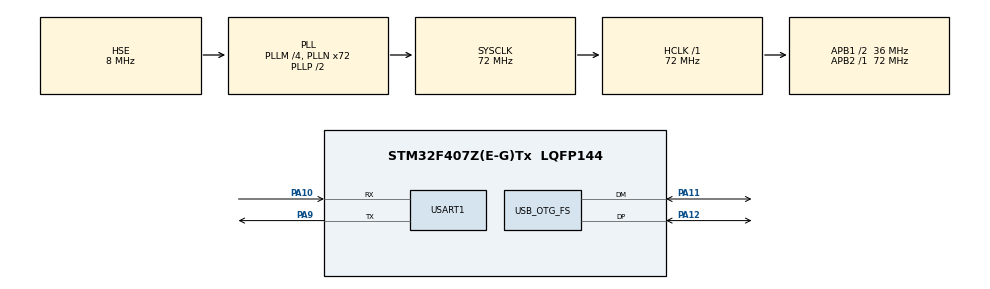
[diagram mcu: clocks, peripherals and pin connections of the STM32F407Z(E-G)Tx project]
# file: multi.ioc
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Mcu.Family=STM32F4
Mcu.Name=STM32F407Z(E-G)Tx
Mcu.Package=LQFP144
NVIC.OTG_FS_IRQn=true\:0\:0\:false\:false\:true\:false\:true\:true
NVIC.PriorityGroup=NVIC_PRIORITYGROUP_4
PA10.Mode=Asynchronous
PA10.Signal=USART1_RX
PA11.Mode=Device_Only
PA11.Signal=USB_OTG_FS_DM
PA12.Mode=Device_Only
PA12.Signal=USB_OTG_FS_DP
PA13.Mode=Serial_Wire
PA13.Signal=SYS_JTMS-SWDIO
PA14.Mode=Serial_Wire
PA14.Signal=SYS_JTCK-SWCLK
PA9.Mode=Asynchronous
PA9.Signal=USART1_TX
PH0-OSC_IN.Mode=HSE-External-Oscillator
PH0-OSC_IN.Signal=RCC_OSC_IN
PH1-OSC_OUT.Mode=HSE-External-Oscillator
PH1-OSC_OUT.Signal=RCC_OSC_OUT
ProjectManager.HeapSize=0x2000
ProjectManager.StackSize=0x2000
ProjectManager.TargetToolchain=STM32CubeIDE
RCC.48MHZClocksFreq_Value=48000000
RCC.AHBFreq_Value=72000000
RCC.APB1CLKDivider=RCC_HCLK_DIV2
RCC.APB1Freq_Value=36000000
RCC.APB1TimFreq_Value=72000000
RCC.APB2Freq_Value=72000000
RCC.APB2TimFreq_Value=72000000
RCC.CortexFreq_Value=72000000
RCC.HCLKFreq_Value=72000000
RCC.HSE_VALUE=8000000
RCC.HSI_VALUE=16000000
RCC.LSE_VALUE=32768
RCC.PLLM=4
RCC.PLLN=72
RCC.PLLQ=3
RCC.SYSCLKFreq_VALUE=72000000
RCC.SYSCLKSource=RCC_SYSCLKSOURCE_PLLCLK
RCC.VCOOutputFreq_Value=144000000
USART1.VirtualMode=VM_ASYNC
USB_DEVICE.CLASS_NAME_FS=CUSTOM_HID
USB_DEVICE.VirtualMode-CUSTOM_HID_FS=CustomHid
USB_DEVICE.VirtualModeFS=Custom_Hid_FS
USB_OTG_FS.VirtualMode=Device_Only
VP_USB_DEVICE_VS_USB_DEVICE_CUSTOM_HID_FS.Mode=CUSTOM_HID_FS
board=custom

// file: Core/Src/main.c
/* USER CODE BEGIN Header */
/**
  ******************************************************************************
  * @file           : main.c
  * @brief          : Main program body
  ******************************************************************************
  * @attention
  *
  * Copyright (c) 2023 STMicroelectronics.
  * All rights reserved.
  *
  * This software is licensed under terms that can be found in the LICENSE file
  * in the root directory of this software component.
  * If no LICENSE file comes with this software, it is provided AS-IS.
  *
  ******************************************************************************
  */
/* USER CODE END Header */
#include "main.h"
#include "usart.h"
#include "usb_device.h"
#include "gpio.h"

/* USER CODE BEGIN Includes */
#include "retarget.h"
#include "matrix_key_user.h"
//#include "sdio_user.h"
// #include "fatfs_user.h"
#include "encoder_user.h"
#include "oled_user.h"
#include "flash_user.h"
#include "lcd_user.h"
//#include "FreeRTOSConfig.h"
#include "FreeRTOS.h"
#include "task.h"
/* USER CODE END Includes */

void SystemClock_Config(void);
void led1_task(void* arg);
void led2_task(void* arg);

// 创建任务句柄
// 统一任务管理
static TaskHandle_t app_task_handle = NULL;
// 其他任务
static TaskHandle_t led1_task_handle = NULL;
static TaskHandle_t led2_task_handle = NULL;

static void app_task_create(void) {
    BaseType_t x_return = pdPASS;
    x_return = xTaskCreate((TaskFunction_t )led1_task, /* 任务入口函数 */
                           (const char* )"LED1_Task",/* 任务名字 */
                           (uint16_t )512, /* 任务栈大小 */
                           (void* )NULL, /* 任务入口函数参数 */
                           (UBaseType_t )2, /* 任务的优先级 */
                           (TaskHandle_t* )&led1_task_handle);
    if(pdPASS == x_return) {
        printf("led task ok\r\n");
    }
    vTaskDelete(app_task_handle);
    taskEXIT_CRITICAL(); //退出临界区
}

/* USER CODE BEGIN PFP */
void led_init(void) {
    __HAL_RCC_GPIOF_CLK_ENABLE();

    GPIO_InitTypeDef GPIO_InitStruct = {0};

    GPIO_InitStruct.Pin = GPIO_PIN_9 | GPIO_PIN_10;
    GPIO_InitStruct.Mode = GPIO_MODE_OUTPUT_PP;
    GPIO_InitStruct.Speed = GPIO_SPEED_FREQ_HIGH;
    GPIO_InitStruct.Pull = GPIO_NOPULL;
    HAL_GPIO_Init(GPIOF, &GPIO_InitStruct);
}
/* USER CODE END PFP */

/* USER CODE BEGIN 0 */
void led1_task(void* arg)
{
    while(1)
    {
        HAL_GPIO_WritePin(GPIOF, GPIO_PIN_9, GPIO_PIN_SET);
        HAL_Delay(300);
        HAL_GPIO_WritePin(GPIOF, GPIO_PIN_9, GPIO_PIN_RESET);
        HAL_Delay(300);
    }
}

void led2_task(void* arg)
{
    while(1)
    {
        HAL_GPIO_TogglePin(GPIOF, GPIO_PIN_10);
//        vTaskDelay(300);
    }
}

/* USER CODE END 0 */

int main(void) {
    /* USER CODE BEGIN 1 */
    RetargetInit(&huart1);
    /* USER CODE END 1 */

    /* MCU Configuration--------------------------------------------------------*/

    /* Reset of all peripherals, Initializes the Flash interface and the Systick. */
    HAL_Init();

    /* Configure the system clock */
    SystemClock_Config();

    /* Initialize all configured peripherals */
    MX_GPIO_Init();
    MX_USB_DEVICE_Init();
    MX_USART1_UART_Init();

    /* USER CODE BEGIN 2 */

//    key_init_user();
//    lcd_init_user();
//    oled_init_user();
//    oled_show_user();
//    flash_init_user();
//    fatfs_init_user();
//    encoder_init_user();
//    sdio_init_user();

    led_init();
    BaseType_t xReturn = pdPASS;
    xReturn = xTaskCreate((TaskFunction_t ) app_task_create, /* 任务入口函数 */
                          (const char* )"create_test",/* 任务名字 */
                          (uint16_t )512, /* 任务栈大小 */
                          (void* )NULL,/* 任务入口函数参数 */
                          (UBaseType_t )1, /* 任务的优先级 */
                          (TaskHandle_t* )&app_task_handle);/* 任务控制块指针 */
    if(pdPASS == xReturn) {
        vTaskStartScheduler();
    } else {
        printf("test fail\r\n");
        return -1;
    }
    /* USER CODE END 2 */

    /* Infinite loop */
    /* USER CODE BEGIN WHILE */
    while (1) {
//        HAL_Delay(200);
//        HAL_GPIO_WritePin(GPIOF, GPIO_PIN_10, GPIO_PIN_SET);
//        HAL_Delay(200);
//        HAL_GPIO_WritePin(GPIOF, GPIO_PIN_10, GPIO_PIN_RESET);
//        HAL_Delay(200);
//        vTaskDelay(300);

//        printf("234234234");
//        key_scan_user();
//        encoder_scan_user();
        /* USER CODE END WHILE */
//        printf("the_encode_is -> %d\r\n", get_encoder_counter());
//        HAL_Delay(200);
        /* USER CODE BEGIN 3 */
    }
}

void SystemClock_Config(void) {
    RCC_OscInitTypeDef RCC_OscInitStruct = {0};
    RCC_ClkInitTypeDef RCC_ClkInitStruct = {0};

    /** Configure the main internal regulator output voltage
    */
    __HAL_RCC_PWR_CLK_ENABLE();
    __HAL_PWR_VOLTAGESCALING_CONFIG(PWR_REGULATOR_VOLTAGE_SCALE1);

    /** Initializes the RCC Oscillators according to the specified parameters
    * in the RCC_OscInitTypeDef structure.
    */
    RCC_OscInitStruct.OscillatorType = RCC_OSCILLATORTYPE_HSE;
    RCC_OscInitStruct.HSEState = RCC_HSE_ON;
    RCC_OscInitStruct.PLL.PLLState = RCC_PLL_ON;
    RCC_OscInitStruct.PLL.PLLSource = RCC_PLLSOURCE_HSE;
    RCC_OscInitStruct.PLL.PLLM = 4;
    RCC_OscInitStruct.PLL.PLLN = 72;
    RCC_OscInitStruct.PLL.PLLP = RCC_PLLP_DIV2;
    RCC_OscInitStruct.PLL.PLLQ = 3;
    if (HAL_RCC_OscConfig(&RCC_OscInitStruct) != HAL_OK) {
        Error_Handler();
    }

    /** Initializes the CPU, AHB and APB buses clocks
    */
    RCC_ClkInitStruct.ClockType = RCC_CLOCKTYPE_HCLK | RCC_CLOCKTYPE_SYSCLK
                                  | RCC_CLOCKTYPE_PCLK1 | RCC_CLOCKTYPE_PCLK2;
    RCC_ClkInitStruct.SYSCLKSource = RCC_SYSCLKSOURCE_PLLCLK;
    RCC_ClkInitStruct.AHBCLKDivider = RCC_SYSCLK_DIV1;
    RCC_ClkInitStruct.APB1CLKDivider = RCC_HCLK_DIV2;
    RCC_ClkInitStruct.APB2CLKDivider = RCC_HCLK_DIV1;

    if (HAL_RCC_ClockConfig(&RCC_ClkInitStruct, FLASH_LATENCY_2) != HAL_OK) {
        Error_Handler();
    }
}

/* USER CODE BEGIN 4 */
// 时钟源重定向
//void HAL_TIM_PeriodElapsedCallback(TIM_HandleTypeDef *htim)
//{
//    if (htim->Instance == TIM4) {
//        HAL_IncTick();
//    }
//}
/* USER CODE END 4 */

void Error_Handler(void) {
    __disable_irq();
    while (1) {
    }
}
